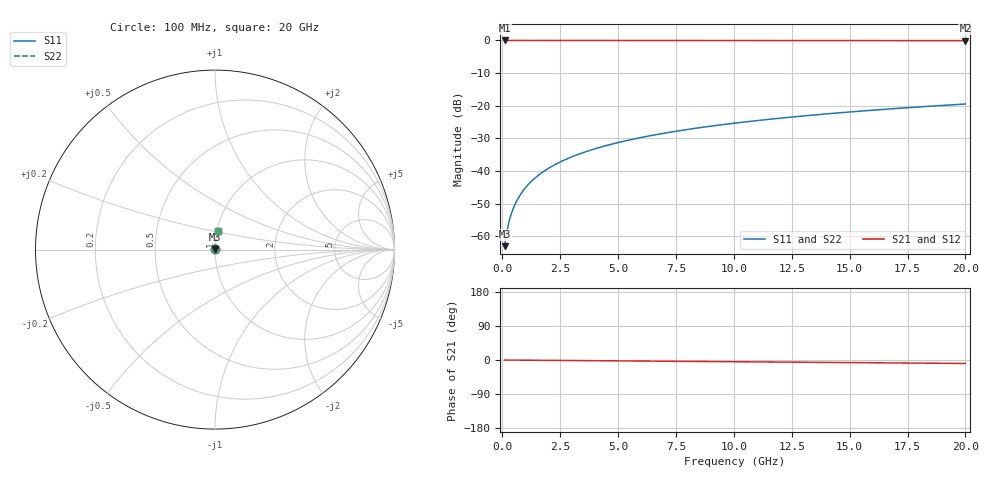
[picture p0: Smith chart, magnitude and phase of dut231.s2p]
! Touchstone file exported from HFSS 2026.1.0
!  File:  C:/ffzhzh/LocalFiles/Ansys_Project_Files/temp_train_TSV_231_1782992409_40604.aedt
!  Generated:  07:42:03 PM Jul  2, 2026
!  Design:  TSV
!  Project:  temp_train_TSV_231_1782992409_40604
! Variables:
!  h_bsmrdl = 2um
!  h_ox = 20um
!  h_rdl = 5um
!  h_sub = 57.52um
!  h_tmrdl = 5um
!  h_tsv = 57.52um
!  h_via = 3um
!  l_bsmrdl = 300um
!  l_sub = 408.18um
!  l_tmrdl = 200um
!  m_sub = 200um
!  pitch = 59.61um
!  r_tsv = 4.09um
!  s_tmrdl = 10um
!  w_bsmrdl = 18um
!  w_sub = 500um
!  w_tmrdl = 12um
!  x_tsv_center1 = 206um
!  x_tsv_center2 = 524um
!  x_tsv_center3 = 736um
!  x_tsv_center4 = 1054um
!  x_tsv_center5 = 1266um
!  x_tsv_center6 = 1584um
# GHz S MA R 50.000000
! Terminal data exported
! Port[1] = TSV1_1_T1
! Port[2] = TSV1_1_T2
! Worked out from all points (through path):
!   200 points, 100 MHz to 20 GHz, reference 50 ohm
!   highest |S21| = 0.00 dB at 100 MHz (marker M1); lowest = -0.1 dB at 20 GHz (marker M2)
!   group delay of S21, straight-line fit = 1.26 ps
!   lowest |S11| = -63.0 dB at 100 MHz (marker M3), VSWR 1.00, Z = 50 + j0.0566 ohm
!   |S11| at or under -10 dB: start of sweep to end of sweep
!   |S22| runs from -63.0 to -19.5 dB; largest |S21 - S12| = 3.9e-15
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0.1  0.0007087 53.0  0.9996 -0.0  0.9996 -0.0  0.0007087 53.0
! Gamma 0 0 0 0
! Port Impedance 50 0 50 0
0.2  0.001209 68.8  0.9996 -0.1  0.9996 -0.1  0.001209 68.8
0.3  0.001743 75.1  0.9996 -0.1  0.9996 -0.1  0.001743 75.1
0.4  0.002285 78.3  0.9995 -0.2  0.9995 -0.2  0.002285 78.3
0.5  0.002829 80.3  0.9995 -0.2  0.9995 -0.2  0.002829 80.3
0.7  0.003922 82.7  0.9995 -0.3  0.9995 -0.3  0.003922 82.7
0.8  0.004469 83.4  0.9995 -0.4  0.9995 -0.4  0.004469 83.4
1  0.005566 84.4  0.9995 -0.5  0.9995 -0.5  0.005566 84.4
1.2  0.006663 85.1  0.9995 -0.6  0.9995 -0.6  0.006663 85.1
1.4  0.007761 85.5  0.9994 -0.7  0.9994 -0.7  0.007761 85.5
1.7  0.009408 85.9  0.9994 -0.8  0.9994 -0.8  0.009408 85.9
2  0.01105 86.1  0.9994 -0.9  0.9994 -0.9  0.01105 86.1
2.7  0.01488 86.3  0.9992 -1.3  0.9992 -1.3  0.01488 86.3
3.5  0.01923 86.2  0.9991 -1.6  0.9991 -1.6  0.01923 86.2
4.2  0.02303 86.1  0.9989 -1.9  0.9989 -1.9  0.02303 86.1
5  0.02734 85.8  0.9987 -2.3  0.9987 -2.3  0.02734 85.8
6.8  0.03698 85.2  0.9982 -3.1  0.9982 -3.1  0.03698 85.2
8.3  0.04497 84.6  0.9978 -3.8  0.9978 -3.8  0.04497 84.6
10.1  0.05452 84.0  0.9972 -4.6  0.9972 -4.6  0.05452 84.0
13.4  0.07194 82.6  0.9959 -6.1  0.9959 -6.1  0.07194 82.6
16.7  0.08923 81.3  0.9943 -7.6  0.9943 -7.6  0.08923 81.3
20  0.1064 79.9  0.9925 -9.1  0.9925 -9.1  0.1064 79.9
